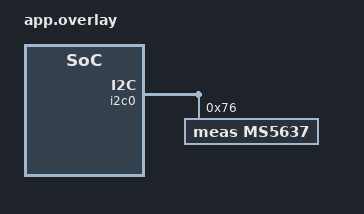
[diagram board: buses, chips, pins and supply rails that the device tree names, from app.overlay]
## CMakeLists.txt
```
# Copyright The Zephyr Project Contributors
# SPDX-License-Identifier: Apache-2.0

cmake_minimum_required(VERSION 3.28.0)
find_package(Zephyr REQUIRED HINTS $ENV{ZEPHYR_BASE})
project(ms5637)

target_include_directories(app PRIVATE ${ZEPHYR_BASE}/drivers/sensor/meas/ms5637)
target_sources(app PRIVATE src/main.c)
```

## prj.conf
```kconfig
# Copyright The Zephyr Project Contributors
# SPDX-License-Identifier: Apache-2.0

CONFIG_ZTEST=y
CONFIG_SENSOR=y
CONFIG_SENSOR_ASYNC_API=y
CONFIG_EMUL=y
# No emulator backs the device, only its decoder is tested
CONFIG_SENSOR_LOG_LEVEL_OFF=y
```

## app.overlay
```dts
/*
 * Copyright The Zephyr Project Contributors
 *
 * SPDX-License-Identifier: Apache-2.0
 */

&i2c0 {
	ms5637: ms5637@76 {
		compatible = "meas,ms5637";
		reg = <0x76>;
	};
};
```

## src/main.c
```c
/*
 * Copyright The Zephyr Project Contributors
 *
 * SPDX-License-Identifier: Apache-2.0
 */

#include <zephyr/drivers/sensor.h>
#include <zephyr/ztest.h>

#include "ms5637.h"

#define TIMESTAMP_NS 123456789012ULL

/* Allowed error of a decoded value, in millidegrees Celsius or Pa */
#define TOLERANCE_MILLI 1

static const struct sensor_decoder_api *decoder = SENSOR_DECODER_DT_GET(DT_NODELABEL(ms5637));

static const struct sensor_chan_spec chan_press = {SENSOR_CHAN_PRESS, 0};
static const struct sensor_chan_spec chan_temp = {SENSOR_CHAN_AMBIENT_TEMP, 0};

/* Calibration and pressure conversion of the MS5637-02BA03 datasheet example */
static const struct ms5637_calibration cal = {
	.sens_t1 = 46372U,
	.off_t1 = 43981U,
	.tcs = 29059U,
	.tco = 27842U,
	.t_ref = 31553U,
	.tempsens = 28165U,
};

#define ADC_PRESSURE 6465444U

struct compensated {
	uint32_t adc_temperature;
	/* Expected temperature in centidegrees Celsius */
	int32_t temperature;
	/* Expected pressure in Pa */
	int32_t pressure;
};

static const struct compensated samples[] = {
	/* Datasheet example: 20 degrees Celsius, first order compensation only */
	{8077636U, 2000, 110002},
	/* Above 20 degrees Celsius */
	{8577636U, 3674, 114044},
	/* Below 20 degrees Celsius */
	{7477636U, -139, 104933},
	/* Below -15 degrees Celsius */
	{6477636U, -4264, 94358},
};

static struct ms5637_encoded_data edata;

static void fill_edata(uint32_t adc_temperature)
{
	memset(&edata, 0, sizeof(edata));
	edata.header.base_timestamp_ns = TIMESTAMP_NS;
	edata.header.reading_count = 1U;
	edata.adc_pressure = ADC_PRESSURE;
	edata.adc_temperature = adc_temperature;
	edata.calibration = cal;
}

/* Thousandths of the channel unit */
static int64_t q31_to_milli(q31_t value, int8_t shift)
{
	return ((int64_t)value * 1000) >> (31 - shift);
}

static void check_reading(const struct sensor_q31_data *out, struct sensor_chan_spec chan,
			  const struct compensated *expected)
{
	int64_t actual;
	int64_t milli;

	zassert_equal(out->header.reading_count, 1);
	zassert_equal(out->header.base_timestamp_ns + out->readings[0].timestamp_delta,
		      TIMESTAMP_NS);
	zassert_equal(out->shift, 16);

	if (chan.chan_type == SENSOR_CHAN_PRESS) {
		/* Pa, from kPa */
		actual = q31_to_milli(out->readings[0].pressure, out->shift);
		milli = expected->pressure;
		/* Truncated toward zero */
		zassert_equal(out->readings[0].pressure,
			      (q31_t)(((int64_t)expected->pressure << 15) / 1000));
	} else {
		/* Millidegrees Celsius */
		actual = q31_to_milli(out->readings[0].temperature, out->shift);
		milli = (int64_t)expected->temperature * 10;
		zassert_equal(out->readings[0].temperature,
			      (q31_t)(((int64_t)expected->temperature << 15) / 100));
	}

	zassert_within(actual, milli, TOLERANCE_MILLI, "got %lld, expected %lld", actual, milli);
}

static void check_chan(struct sensor_chan_spec chan, const struct compensated *expected)
{
	const uint8_t *buffer = (const uint8_t *)&edata;
	struct {
		struct sensor_q31_data data;
		struct sensor_q31_sample_data extra[3];
	} out;
	const uint16_t max_count = ARRAY_SIZE(out.extra) + 1U;
	uint16_t frame_count;
	uint32_t fit = 0;

	zassert_ok(decoder->get_frame_count(buffer, chan, &frame_count));
	zassert_equal(frame_count, 1);

	/* One reading per call */
	zassert_equal(decoder->decode(buffer, chan, &fit, 1, &out.data), 1);
	check_reading(&out.data, chan, expected);
	zassert_equal(decoder->decode(buffer, chan, &fit, 1, &out.data), 0);

	/* All readings in one call */
	fit = 0;
	memset(&out, 0, sizeof(out));
	zassert_equal(decoder->decode(buffer, chan, &fit, max_count, &out.data), 1);
	check_reading(&out.data, chan, expected);
	zassert_equal(decoder->decode(buffer, chan, &fit, max_count, &out.data), 0);

	fit = 0;
	zassert_equal(decoder->decode(buffer, chan, &fit, 0, &out.data), 0);
}

ZTEST(ms5637_decoder, test_size_info)
{
	size_t base_size;
	size_t frame_size;

	zassert_ok(decoder->get_size_info(chan_press, &base_size, &frame_size));
	zassert_equal(base_size, sizeof(struct sensor_q31_data));
	zassert_equal(frame_size, sizeof(struct sensor_q31_sample_data));

	zassert_ok(decoder->get_size_info(chan_temp, &base_size, &frame_size));
	zassert_equal(base_size, sizeof(struct sensor_q31_data));
	zassert_equal(frame_size, sizeof(struct sensor_q31_sample_data));
}

ZTEST(ms5637_decoder, test_decode)
{
	for (size_t i = 0; i < ARRAY_SIZE(samples); i++) {
		TC_PRINT("ADC temperature %u\n", samples[i].adc_temperature);
		fill_edata(samples[i].adc_temperature);
		check_chan(chan_press, &samples[i]);
		check_chan(chan_temp, &samples[i]);
	}
}

ZTEST(ms5637_decoder, test_unsupported)
{
	const struct sensor_chan_spec chans[] = {
		{SENSOR_CHAN_ALL, 0},
		{SENSOR_CHAN_HUMIDITY, 0},
		{SENSOR_CHAN_PROX, 0},
		{SENSOR_CHAN_PRESS, 1},
		{SENSOR_CHAN_AMBIENT_TEMP, 1},
	};
	const uint8_t *buffer = (const uint8_t *)&edata;
	struct sensor_q31_data out;
	size_t base_size;
	size_t frame_size;
	uint16_t frame_count;
	uint32_t fit;

	fill_edata(samples[0].adc_temperature);

	for (size_t i = 0; i < ARRAY_SIZE(chans); i++) {
		fit = 0;
		zassert_equal(decoder->get_size_info(chans[i], &base_size, &frame_size), -ENOTSUP);
		zassert_equal(decoder->get_frame_count(buffer, chans[i], &frame_count), -ENOTSUP);
		zassert_equal(decoder->decode(buffer, chans[i], &fit, 1, &out), -ENOTSUP);
	}
}

ZTEST(ms5637_decoder, test_has_trigger)
{
	/* One-shot reads only: the decoder reports no trigger */
	zassert_is_null(decoder->has_trigger);
}

ZTEST_SUITE(ms5637_decoder, NULL, NULL, NULL, NULL, NULL);
```
